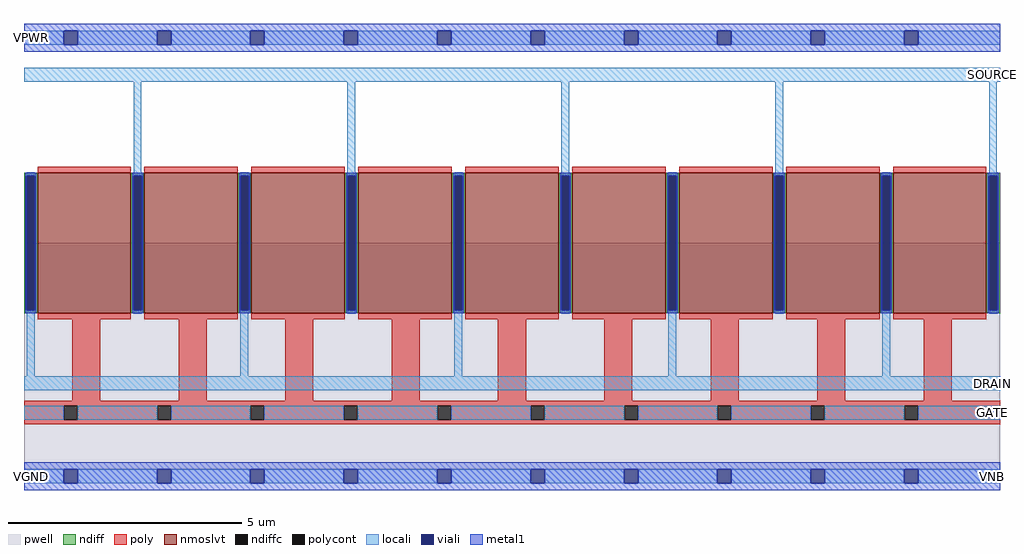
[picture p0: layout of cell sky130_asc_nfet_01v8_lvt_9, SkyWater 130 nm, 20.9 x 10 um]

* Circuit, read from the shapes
.subckt sky130_asc_nfet_01v8_lvt_9 GATE SOURCE DRAIN VNB VPWR VGND
XM1 SOURCE GATE DRAIN VNB sky130_fd_pr__nfet_01v8_lvt w=3 l=2 m=9
.ends

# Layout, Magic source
magic
tech sky130A
magscale 1 2
<< pwell >>
rect 0 30 4180 1000
rect 4120 -30 4180 30
<< nmoslvt >>
rect 58 700 458 1300
rect 516 700 916 1300
rect 974 700 1374 1300
rect 1432 700 1832 1300
rect 1890 700 2290 1300
rect 2348 700 2748 1300
rect 2806 700 3206 1300
rect 3264 700 3664 1300
rect 3722 700 4122 1300
<< ndiff >>
rect 0 1288 58 1300
rect 0 712 12 1288
rect 46 712 58 1288
rect 0 700 58 712
rect 458 1288 516 1300
rect 458 712 470 1288
rect 504 712 516 1288
rect 458 700 516 712
rect 916 1288 974 1300
rect 916 712 928 1288
rect 962 712 974 1288
rect 916 700 974 712
rect 1374 1288 1432 1300
rect 1374 712 1386 1288
rect 1420 712 1432 1288
rect 1374 700 1432 712
rect 1832 1288 1890 1300
rect 1832 712 1844 1288
rect 1878 712 1890 1288
rect 1832 700 1890 712
rect 2290 1288 2348 1300
rect 2290 712 2302 1288
rect 2336 712 2348 1288
rect 2290 700 2348 712
rect 2748 1288 2806 1300
rect 2748 712 2760 1288
rect 2794 712 2806 1288
rect 2748 700 2806 712
rect 3206 1288 3264 1300
rect 3206 712 3218 1288
rect 3252 712 3264 1288
rect 3206 700 3264 712
rect 3664 1288 3722 1300
rect 3664 712 3676 1288
rect 3710 712 3722 1288
rect 3664 700 3722 712
rect 4122 1288 4180 1300
rect 4122 712 4134 1288
rect 4168 712 4180 1288
rect 4122 700 4180 712
<< ndiffc >>
rect 12 712 46 1288
rect 470 712 504 1288
rect 928 712 962 1288
rect 1386 712 1420 1288
rect 1844 712 1878 1288
rect 2302 712 2336 1288
rect 2760 712 2794 1288
rect 3218 712 3252 1288
rect 3676 712 3710 1288
rect 4134 712 4168 1288
<< poly >>
rect 58 1300 458 1326
rect 516 1300 916 1326
rect 974 1300 1374 1326
rect 1432 1300 1832 1326
rect 1890 1300 2290 1326
rect 2348 1300 2748 1326
rect 2806 1300 3206 1326
rect 3264 1300 3664 1326
rect 3722 1300 4122 1326
rect 58 674 458 700
rect 516 674 916 700
rect 974 674 1374 700
rect 1432 674 1832 700
rect 1890 674 2290 700
rect 2348 674 2748 700
rect 2806 674 3206 700
rect 3264 674 3664 700
rect 3722 674 4122 700
rect 206 324 326 674
rect 662 324 782 674
rect 1118 324 1238 674
rect 1574 324 1694 674
rect 2030 324 2150 674
rect 2486 324 2606 674
rect 2942 324 3062 674
rect 3398 324 3518 674
rect 3854 324 3974 674
rect 0 304 4180 324
rect 0 244 170 304
rect 230 244 570 304
rect 630 244 970 304
rect 1030 244 1370 304
rect 1430 244 1770 304
rect 1830 244 2170 304
rect 2230 244 2570 304
rect 2630 244 2970 304
rect 3030 244 3370 304
rect 3430 244 3770 304
rect 3830 244 4180 304
rect 0 224 4180 244
<< polycont >>
rect 170 244 230 304
rect 570 244 630 304
rect 970 244 1030 304
rect 1370 244 1430 304
rect 1770 244 1830 304
rect 2170 244 2230 304
rect 2570 244 2630 304
rect 2970 244 3030 304
rect 3370 244 3430 304
rect 3770 244 3830 304
<< locali >>
rect 0 1850 170 1910
rect 230 1850 570 1910
rect 630 1850 970 1910
rect 1030 1850 1370 1910
rect 1430 1850 1770 1910
rect 1830 1850 2170 1910
rect 2230 1850 2570 1910
rect 2630 1850 2970 1910
rect 3030 1850 3370 1910
rect 3430 1850 3770 1910
rect 3830 1850 4180 1910
rect 0 1690 4180 1750
rect 469 1304 503 1690
rect 1385 1304 1419 1690
rect 2301 1304 2335 1690
rect 3217 1304 3251 1690
rect 4133 1304 4167 1690
rect 12 1288 46 1304
rect 11 712 12 754
rect 469 1288 504 1304
rect 469 1286 470 1288
rect 11 696 46 712
rect 928 1288 962 1304
rect 470 696 504 712
rect 927 712 928 754
rect 1385 1288 1420 1304
rect 1385 1286 1386 1288
rect 927 696 962 712
rect 1844 1288 1878 1304
rect 1386 696 1420 712
rect 1843 712 1844 754
rect 2301 1288 2336 1304
rect 2301 1286 2302 1288
rect 1843 696 1878 712
rect 2760 1288 2794 1304
rect 2302 696 2336 712
rect 2759 712 2760 754
rect 3217 1288 3252 1304
rect 3217 1286 3218 1288
rect 2759 696 2794 712
rect 3676 1288 3710 1304
rect 3218 696 3252 712
rect 3675 712 3676 754
rect 4133 1288 4168 1304
rect 4133 1286 4134 1288
rect 3675 696 3710 712
rect 4134 696 4168 712
rect 11 430 45 696
rect 927 430 961 696
rect 1843 430 1877 696
rect 2759 430 2793 696
rect 3675 430 3709 696
rect 0 370 4180 430
rect 0 244 170 304
rect 230 244 570 304
rect 630 244 970 304
rect 1030 244 1370 304
rect 1430 244 1770 304
rect 1830 244 2170 304
rect 2230 244 2570 304
rect 2630 244 2970 304
rect 3030 244 3370 304
rect 3430 244 3770 304
rect 3830 244 4180 304
rect 0 -30 170 30
rect 230 -30 570 30
rect 630 -30 970 30
rect 1030 -30 1370 30
rect 1430 -30 1770 30
rect 1830 -30 2170 30
rect 2230 -30 2570 30
rect 2630 -30 2970 30
rect 3030 -30 3370 30
rect 3430 -30 3770 30
rect 3830 -30 4180 30
<< viali >>
rect 170 1850 230 1910
rect 570 1850 630 1910
rect 970 1850 1030 1910
rect 1370 1850 1430 1910
rect 1770 1850 1830 1910
rect 2170 1850 2230 1910
rect 2570 1850 2630 1910
rect 2970 1850 3030 1910
rect 3370 1850 3430 1910
rect 3770 1850 3830 1910
rect 12 712 46 1288
rect 470 712 504 1288
rect 928 712 962 1288
rect 1386 712 1420 1288
rect 1844 712 1878 1288
rect 2302 712 2336 1288
rect 2760 712 2794 1288
rect 3218 712 3252 1288
rect 3676 712 3710 1288
rect 4134 712 4168 1288
rect 170 -30 230 30
rect 570 -30 630 30
rect 970 -30 1030 30
rect 1370 -30 1430 30
rect 1770 -30 1830 30
rect 2170 -30 2230 30
rect 2570 -30 2630 30
rect 2970 -30 3030 30
rect 3370 -30 3430 30
rect 3770 -30 3830 30
<< metal1 >>
rect 0 1910 4180 1940
rect 0 1850 170 1910
rect 230 1850 570 1910
rect 630 1850 970 1910
rect 1030 1850 1370 1910
rect 1430 1850 1770 1910
rect 1830 1850 2170 1910
rect 2230 1850 2570 1910
rect 2630 1850 2970 1910
rect 3030 1850 3370 1910
rect 3430 1850 3770 1910
rect 3830 1850 4180 1910
rect 0 1820 4180 1850
rect 6 1288 52 1300
rect 6 712 12 1288
rect 46 712 52 1288
rect 6 700 52 712
rect 464 1288 510 1300
rect 464 712 470 1288
rect 504 712 510 1288
rect 464 700 510 712
rect 922 1288 968 1300
rect 922 712 928 1288
rect 962 712 968 1288
rect 922 700 968 712
rect 1380 1288 1426 1300
rect 1380 712 1386 1288
rect 1420 712 1426 1288
rect 1380 700 1426 712
rect 1838 1288 1884 1300
rect 1838 712 1844 1288
rect 1878 712 1884 1288
rect 1838 700 1884 712
rect 2296 1288 2342 1300
rect 2296 712 2302 1288
rect 2336 712 2342 1288
rect 2296 700 2342 712
rect 2754 1288 2800 1300
rect 2754 712 2760 1288
rect 2794 712 2800 1288
rect 2754 700 2800 712
rect 3212 1288 3258 1300
rect 3212 712 3218 1288
rect 3252 712 3258 1288
rect 3212 700 3258 712
rect 3670 1288 3716 1300
rect 3670 712 3676 1288
rect 3710 712 3716 1288
rect 3670 700 3716 712
rect 4128 1288 4174 1300
rect 4128 712 4134 1288
rect 4168 712 4174 1288
rect 4128 700 4174 712
rect 0 30 4180 60
rect 0 -30 170 30
rect 230 -30 570 30
rect 630 -30 970 30
rect 1030 -30 1370 30
rect 1430 -30 1770 30
rect 1830 -30 2170 30
rect 2230 -30 2570 30
rect 2630 -30 2970 30
rect 3030 -30 3370 30
rect 3430 -30 3770 30
rect 3830 -30 4180 30
rect 0 -60 4180 -30
<< labels >>
flabel pwell 4120 -30 4180 30 1 FreeSans 800 0 0 0 VNB
port 4 n ground bidirectional
flabel metal1 0 1850 60 1910 1 FreeSans 800 0 0 0 VPWR
port 5 n power bidirectional
flabel metal1 0 -30 60 30 1 FreeSans 800 0 0 0 VGND
port 6 n ground bidirectional
flabel locali 4120 1690 4180 1750 1 FreeSans 800 0 0 0 SOURCE
port 2 n default bidirectional
flabel locali 4120 370 4180 430 1 FreeSans 800 0 0 0 DRAIN
port 3 n default bidirectional
flabel locali 4120 244 4180 304 1 FreeSans 800 0 0 0 GATE
port 1 n default bidirectional
<< properties >>
string FIXED_BBOX 0 0 516 1880
string LEFclass CORE
string LEFsite unitasc
<< end >>
